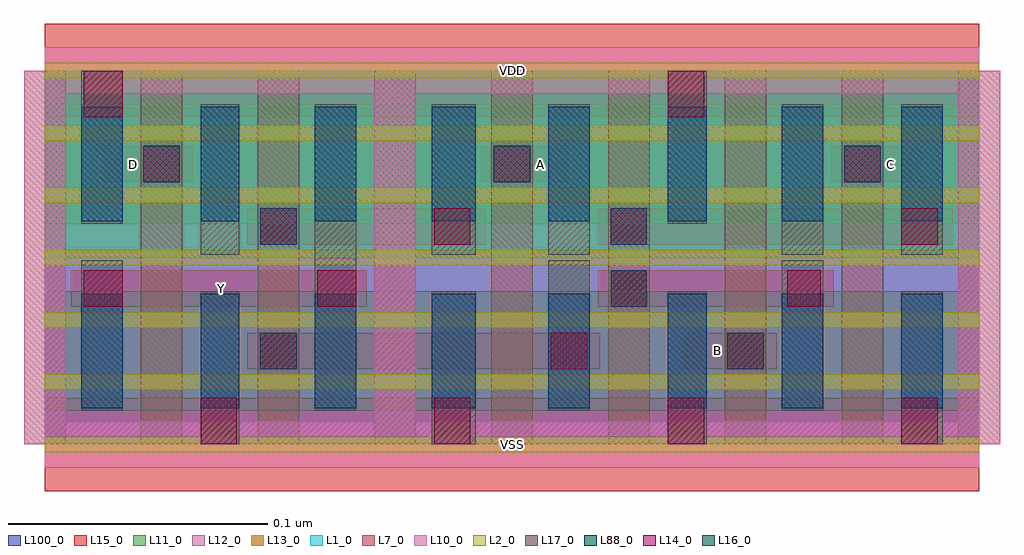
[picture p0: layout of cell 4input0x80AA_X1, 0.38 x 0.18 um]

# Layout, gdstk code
import gdstk
lib = gdstk.Library(unit=1e-6, precision=1e-09)
def R(c, l, rs):  # rectangles x0, y0, x1, y1
    for r in rs: c.add(gdstk.rectangle(r[:2], r[2:], *l))
def A(c, l, x, y, w, h, nx, ny, dx, dy):  # array of equal rectangles
    R(c, l, [(x+i*dx, y+j*dy, x+i*dx+w, y+j*dy+h) for i in range(nx) for j in range(ny)])
def P(c, l, *ps):  # polygons
    for p in ps: c.add(gdstk.Polygon(p, *l))
L1_0 = (1, 0)
L2_0 = (2, 0)
L7_0 = (7, 0)
L10_0 = (10, 0)
L11_0 = (11, 0)
L12_0 = (12, 0)
L13_0 = (13, 0)
L14_0 = (14, 0)
L15_0 = (15, 0)
L16_0 = (16, 0)
L17_0 = (17, 0)
L88_0 = (88, 0)
L100_0 = (100, 0)

c_4input0x80aa_x1 = lib.new_cell('4input0x80AA_X1')
R(c_4input0x80aa_x1, L1_0, [(0,0.072,0.36,0.144)])
A(c_4input0x80aa_x1, L2_0, 0, -0.003, 0.36, 0.006, 1, 7, 0, 0.024)
A(c_4input0x80aa_x1, L7_0, -0.008, 0, 0.016, 0.144, 9, 1, 0.045, 0)
P(c_4input0x80aa_x1, L10_0, [(0,-0.009),(0,0),(-0.008,0),(-0.008,0.135),(0.008,0.135),(0.008,0.009),(0.127,0.009),(0.127,0.135),(0.143,0.135),(0.143,0.009),(0.352,0.009),(0.352,0.135),(-0.008,0.135),(-0.008,0.144),(0,0.144),(0,0.153),(0.36,0.153),(0.36,0.144),(0.368,0.144),(0.368,0),(0.36,0),(0.36,-0.009)])
R(c_4input0x80aa_x1, L11_0, [(0,0.013,0.36,0.059), (0,0.085,0.36,0.131)])
R(c_4input0x80aa_x1, L12_0, [(0,0,0.36,0.072)])
R(c_4input0x80aa_x1, L13_0, [(0,0.072,0.36,0.144)])
A(c_4input0x80aa_x1, L14_0, 0.06, 0, 0.014, 0.018, 4, 1, 0.09, 0)
A(c_4input0x80aa_x1, L14_0, 0.038, 0.101, 0.014, 0.014, 3, 1, 0.135, 0)
R(c_4input0x80aa_x1, L14_0, [(0.083,0.029,0.097,0.043), (0.195,0.029,0.209,0.043), (0.263,0.029,0.277,0.043), (0.015,0.053,0.03,0.067), (0.105,0.053,0.12,0.067), (0.218,0.053,0.232,0.067), (0.286,0.053,0.299,0.067), (0.083,0.077,0.097,0.091), (0.15,0.077,0.164,0.091), (0.218,0.077,0.232,0.091), (0.33,0.077,0.344,0.091), (0.015,0.126,0.03,0.144), (0.24,0.126,0.254,0.144)])
R(c_4input0x80aa_x1, L15_0, [(0,-0.018,0.36,0.018), (0.078,0.029,0.214,0.043), (0.247,0.029,0.282,0.043), (0.01,0.053,0.124,0.067), (0.213,0.053,0.304,0.067), (0.078,0.077,0.17,0.091), (0.213,0.077,0.35,0.091), (0.022,0.101,0.057,0.115), (0.168,0.101,0.202,0.115), (0.303,0.101,0.338,0.115), (0,0.126,0.36,0.162)])
A(c_4input0x80aa_x1, L16_0, 0.038, 0.101, 0.014, 0.014, 3, 1, 0.135, 0)
R(c_4input0x80aa_x1, L16_0, [(0.083,0.029,0.097,0.043), (0.263,0.029,0.277,0.043), (0.218,0.053,0.232,0.067), (0.083,0.077,0.097,0.091), (0.218,0.077,0.232,0.091)])
R(c_4input0x80aa_x1, L17_0, [(0.06,0,0.075,0.059), (0.149,0,0.166,0.059), (0.24,0,0.255,0.059), (0.33,0,0.346,0.059), (0.014,0.013,0.03,0.071), (0.104,0.013,0.12,0.131), (0.194,0.013,0.21,0.071), (0.284,0.013,0.3,0.071), (0.06,0.073,0.075,0.131), (0.149,0.073,0.166,0.131), (0.194,0.073,0.21,0.131), (0.284,0.073,0.3,0.131), (0.33,0.073,0.346,0.131), (0.014,0.085,0.03,0.144), (0.24,0.085,0.255,0.144)])
A(c_4input0x80aa_x1, L88_0, 0.014, 0.014, 0.016, 0.044, 4, 2, 0.09, 0.072)
R(c_4input0x80aa_x1, L88_0, [(0.06,0.014,0.075,0.058), (0.149,0.014,0.166,0.058), (0.24,0.014,0.255,0.058), (0.33,0.014,0.346,0.058), (0.06,0.086,0.075,0.13), (0.149,0.086,0.166,0.13), (0.24,0.086,0.255,0.13), (0.33,0.086,0.346,0.13)])
R(c_4input0x80aa_x1, L100_0, [(0,0,0.36,0.144)])
c_4input0x80aa_x1.add(gdstk.Label('Y', (0.068,0.06), layer=15, texttype=251))
c_4input0x80aa_x1.add(gdstk.Label('VSS', (0.18,0), layer=15, texttype=251))
c_4input0x80aa_x1.add(gdstk.Label('VDD', (0.18,0.144), layer=15, texttype=251))
c_4input0x80aa_x1.add(gdstk.Label('D', (0.034,0.108), layer=15, texttype=251))
c_4input0x80aa_x1.add(gdstk.Label('VSS', (0.18,0), layer=15, texttype=251))
c_4input0x80aa_x1.add(gdstk.Label('VDD', (0.18,0.144), layer=15, texttype=251))
c_4input0x80aa_x1.add(gdstk.Label('C', (0.326,0.108), layer=15, texttype=251))
c_4input0x80aa_x1.add(gdstk.Label('VSS', (0.18,0), layer=15, texttype=251))
c_4input0x80aa_x1.add(gdstk.Label('VDD', (0.18,0.144), layer=15, texttype=251))
c_4input0x80aa_x1.add(gdstk.Label('B', (0.259,0.036), layer=15, texttype=251))
c_4input0x80aa_x1.add(gdstk.Label('VSS', (0.18,0), layer=15, texttype=251))
c_4input0x80aa_x1.add(gdstk.Label('VDD', (0.18,0.144), layer=15, texttype=251))
c_4input0x80aa_x1.add(gdstk.Label('A', (0.191,0.108), layer=15, texttype=251))
c_4input0x80aa_x1.add(gdstk.Label('VSS', (0.18,0), layer=15, texttype=251))
c_4input0x80aa_x1.add(gdstk.Label('VDD', (0.18,0.144), layer=15, texttype=251))
c_4input0x80aa_x1.add(gdstk.Label('VSS', (0.18,0), layer=3, texttype=251))
c_4input0x80aa_x1.add(gdstk.Label('VSS', (0.18,0), layer=3, texttype=251))
c_4input0x80aa_x1.add(gdstk.Label('VSS', (0.18,0), layer=3, texttype=251))
c_4input0x80aa_x1.add(gdstk.Label('VSS', (0.18,0), layer=3, texttype=251))
c_4input0x80aa_x1.add(gdstk.Label('VSS', (0.18,0), layer=3, texttype=251))
c_4input0x80aa_x1.add(gdstk.Label('VDD', (0.18,0.144), layer=1, texttype=251))
c_4input0x80aa_x1.add(gdstk.Label('VDD', (0.18,0.144), layer=1, texttype=251))
c_4input0x80aa_x1.add(gdstk.Label('VDD', (0.18,0.144), layer=1, texttype=251))
c_4input0x80aa_x1.add(gdstk.Label('VDD', (0.18,0.144), layer=1, texttype=251))
c_4input0x80aa_x1.add(gdstk.Label('VDD', (0.18,0.144), layer=1, texttype=251))

lib.write_gds('4input0x80AA_X1.gds')
